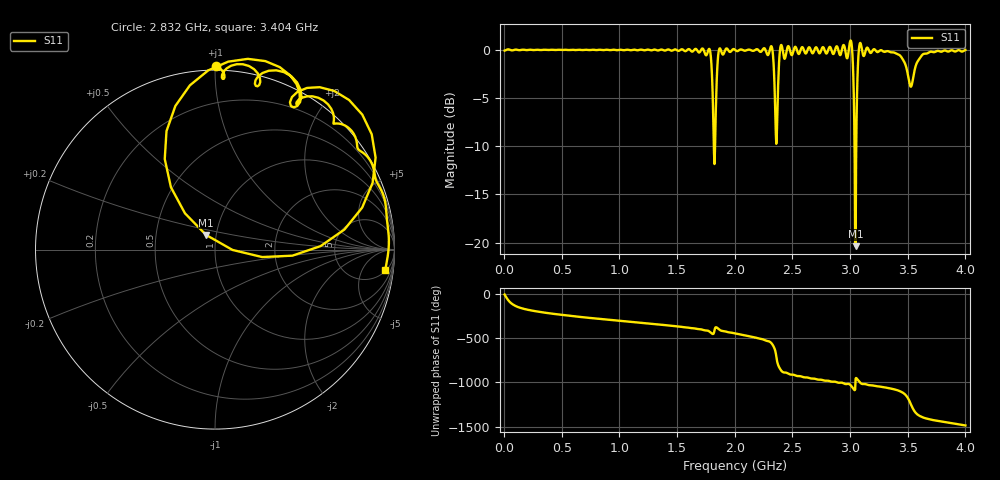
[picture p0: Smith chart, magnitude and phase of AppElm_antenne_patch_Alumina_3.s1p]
! TOUCHSTONE file generated by CST MICROWAVE STUDIO
! Date and time: Thu Jun  9 08:54:57 2022
! Project name: AppElm_antenne_patch_Alumina.cst
! Parameters = {L=25.925; W=41.8; e=0.035; h=1.6; lambda=0.190476; ls=90; w0=1.12; w1=0.373; ws=90; y0=14; y1=10}
! Header version: 2018
! Port assignment regex: !\s*Touchstone port\s*([0-9]+)\s*=\s*(CST MWS port|CST DS port)\s*([0-9]+|Zmin|Zmax)\s*\(\"(.*)\"\)(\s*mode\s*([0-9]+))?.*
! Touchstone port assignment:
! Touchstone port 1 = CST MWS port 1 ("")
# GHz S MA R 50
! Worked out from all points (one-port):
!   1000 points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, 4 MHz to 4 GHz, reference 50 ohm
!   lowest |S11| = -20.4 dB at 3.048 GHz (marker M1), VSWR 1.21, Z = 44.7 + j7.38 ohm
!   |S11| at or under -10 dB: 1.819 GHz to 1.829 GHz (10.18 MHz wide, 0.558 % of centre); 3.03858 GHz to 3.053543 GHz (14.96 MHz wide, 0.491 % of centre)
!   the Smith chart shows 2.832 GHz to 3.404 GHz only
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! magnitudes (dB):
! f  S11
! 4 MHz  -0.1
! 504 MHz  0.0
! 1.004 GHz  0.0
! 1.504 GHz  -0.1
! 1.776 GHz  0.1
! 1.792 GHz  -0.6
! 1.812 GHz  -6.2
! 1.824 GHz  -11.8
! 1.868 GHz  0.2
! 2.004 GHz  0.0
! 2.312 GHz  0.3
! 2.328 GHz  -0.1
! 2.348 GHz  -5.0
! 2.36 GHz  -9.7
! 2.404 GHz  0.5
! 2.504 GHz  -0.3
! 3.004 GHz  1.0
! 3.016 GHz  0.3
! 3.032 GHz  -4.6
! 3.048 GHz  -20.4
! 3.06 GHz  -4.8
! 3.076 GHz  0.0
! 3.092 GHz  0.7
! 3.416 GHz  -0.5
! 3.504 GHz  -2.8
! 3.532 GHz  -3.7
! 3.64 GHz  -0.4
! 4 GHz  0.0
